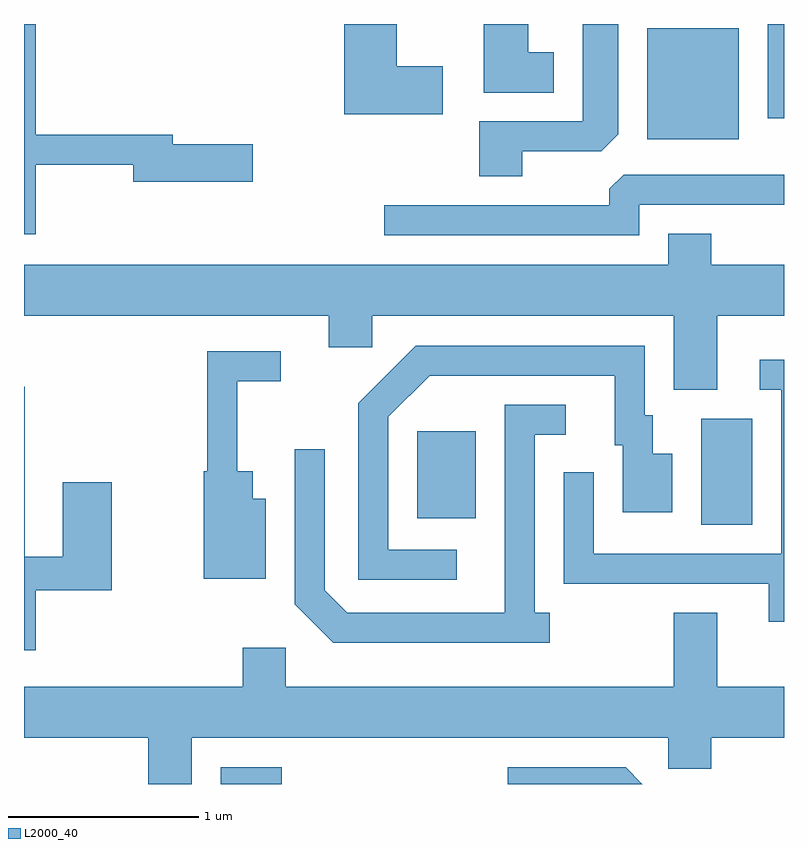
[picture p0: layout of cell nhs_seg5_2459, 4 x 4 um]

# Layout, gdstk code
import gdstk
lib = gdstk.Library(unit=1e-6, precision=1e-09)
def R(c, l, rs):  # rectangles x0, y0, x1, y1
    for r in rs: c.add(gdstk.rectangle(r[:2], r[2:], *l))
def P(c, l, *ps):  # polygons
    for p in ps: c.add(gdstk.Polygon(p, *l))
L2000_40 = (2000, 40)

nhs_seg5_2459 = lib.new_cell('nhs_seg5_2459')
R(nhs_seg5_2459, L2000_40, [(258.646,1492.072,258.968,1492.159), (261.176,1493.436,261.444,1493.994), (259.681,1493.471,259.989,1493.929), (260.891,1495.466,261.374,1496.049), (261.526,1495.576,261.611,1496.072)])
P(nhs_seg5_2459, L2000_40, [(260.234,1495.401),(260.649,1495.401),(260.739,1495.492),(260.739,1496.072),(260.551,1496.072),(260.551,1495.559),(260.006,1495.559),(260.006,1495.271),(260.234,1495.271)],
  [(257.674,1495.331),(258.186,1495.331),(258.186,1495.241),(258.814,1495.241),(258.814,1495.439),(258.394,1495.439),(258.394,1495.489),(257.674,1495.489),(257.674,1496.072),(257.611,1496.072),(257.611,1494.966),(257.674,1494.966)],
  [(259.814,1495.849),(259.574,1495.849),(259.574,1496.072),(259.296,1496.072),(259.296,1495.596),(259.814,1495.596)],
  [(260.399,1495.924),(260.264,1495.924),(260.264,1496.072),(260.031,1496.072),(260.031,1495.711),(260.399,1495.711)],
  [(260.849,1495.121),(261.611,1495.121),(261.611,1495.279),(260.767,1495.279),(260.691,1495.204),(260.691,1495.119),(259.508,1495.119),(259.508,1494.961),(260.849,1494.961)],
  [(261.259,1494.536),(261.611,1494.536),(261.611,1494.804),(261.229,1494.804),(261.229,1494.969),(261.001,1494.969),(261.001,1494.804),(257.611,1494.804),(257.611,1494.536),(259.216,1494.536),(259.216,1494.371),(259.444,1494.371),(259.444,1494.536),(261.031,1494.536),(261.031,1494.146),(261.259,1494.146)],
  [(259.888,1493.304),(259.529,1493.304),(259.529,1494.004),(259.747,1494.221),(260.721,1494.221),(260.721,1493.856),(260.761,1493.856),(260.761,1493.501),(261.024,1493.501),(261.024,1493.809),(260.919,1493.809),(260.919,1494.014),(260.879,1494.014),(260.879,1494.379),(259.674,1494.379),(259.371,1494.077),(259.371,1493.146),(259.888,1493.146)],
  [(258.884,1493.574),(258.814,1493.574),(258.814,1493.719),(258.734,1493.719),(258.734,1494.191),(258.962,1494.191),(258.962,1494.349),(258.576,1494.349),(258.576,1493.719),(258.556,1493.719),(258.556,1493.151),(258.884,1493.151)],
  [(261.611,1494.304),(261.483,1494.304),(261.483,1494.146),(261.596,1494.146),(261.596,1493.284),(260.609,1493.284),(260.609,1493.713),(260.451,1493.713),(260.451,1493.126),(261.531,1493.126),(261.531,1492.926),(261.611,1492.926)],
  [(257.674,1493.091),(258.074,1493.091),(258.074,1493.659),(257.816,1493.659),(257.816,1493.269),(257.614,1493.269),(257.614,1494.164),(257.611,1494.164),(257.611,1492.776),(257.674,1492.776)],
  [(260.378,1492.974),(260.299,1492.974),(260.299,1493.911),(260.462,1493.911),(260.462,1494.069),(260.141,1494.069),(260.141,1492.974),(259.312,1492.974),(259.194,1493.092),(259.194,1493.833),(259.036,1493.833),(259.036,1493.019),(259.239,1492.816),(260.378,1492.816)],
  [(258.494,1492.316),(261.001,1492.316),(261.001,1492.151),(261.229,1492.151),(261.229,1492.316),(261.611,1492.316),(261.611,1492.584),(261.259,1492.584),(261.259,1492.974),(261.031,1492.974),(261.031,1492.584),(258.989,1492.584),(258.989,1492.789),(258.761,1492.789),(258.761,1492.584),(257.611,1492.584),(257.611,1492.316),(258.266,1492.316),(258.266,1492.072),(258.494,1492.072)],
  [(260.777,1492.159),(260.156,1492.159),(260.156,1492.072),(260.864,1492.072)])

lib.write_gds('nhs_seg5_2459.gds')
